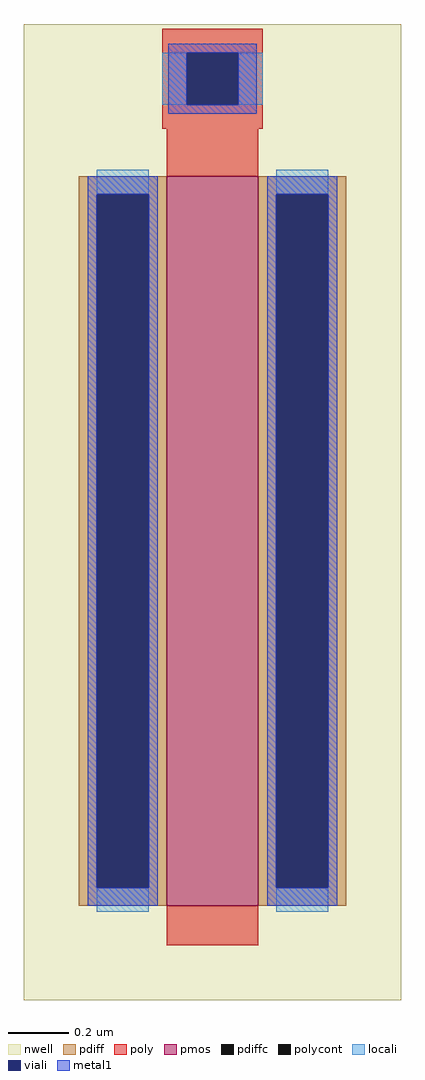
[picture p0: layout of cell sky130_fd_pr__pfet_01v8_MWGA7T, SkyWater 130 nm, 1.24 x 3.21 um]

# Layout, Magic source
magic
tech sky130A
magscale 1 2
<< nwell >>
rect -124 -338 124 304
<< pmos >>
rect -30 -276 30 204
<< pdiff >>
rect -88 192 -30 204
rect -88 -264 -76 192
rect -42 -264 -30 192
rect -88 -276 -30 -264
rect 30 192 88 204
rect 30 -264 42 192
rect 76 -264 88 192
rect 30 -276 88 -264
<< pdiffc >>
rect -76 -264 -42 192
rect 42 -264 76 192
<< poly >>
rect -33 285 33 301
rect -33 251 -17 285
rect 17 251 33 285
rect -33 235 33 251
rect -30 204 30 235
rect -30 -302 30 -276
<< polycont >>
rect -17 251 17 285
<< locali >>
rect -33 251 -17 285
rect 17 251 33 285
rect -76 192 -42 208
rect -76 -280 -42 -264
rect 42 192 76 208
rect 42 -280 76 -264
<< viali >>
rect -17 251 17 285
rect -76 -264 -42 192
rect 42 -264 76 192
<< metal1 >>
rect -29 285 29 291
rect -29 251 -17 285
rect 17 251 29 285
rect -29 245 29 251
rect -82 192 -36 204
rect -82 -264 -76 192
rect -42 -264 -36 192
rect -82 -276 -36 -264
rect 36 192 82 204
rect 36 -264 42 192
rect 76 -264 82 192
rect 36 -276 82 -264
<< properties >>
string gencell sky130_fd_pr__pfet_01v8
string library sky130
string parameters w 2.4 l 0.30 m 1 nf 1 diffcov 100 polycov 100 guard 0 glc 1 grc 1 gtc 1 gbc 1 tbcov 100 rlcov 100 topc 1 botc 0 poverlap 0 doverlap 1 lmin 0.15 wmin 0.42 compatible {sky130_fd_pr__pfet_01v8  sky130_fd_pr__pfet_01v8_lvt sky130_fd_pr__pfet_01v8_hvt  sky130_fd_pr__pfet_g5v0d10v5} full_metal 1 viasrc 100 viadrn 100 viagate 100 viagb 0 viagr 0 viagl 0 viagt 0
<< end >>
